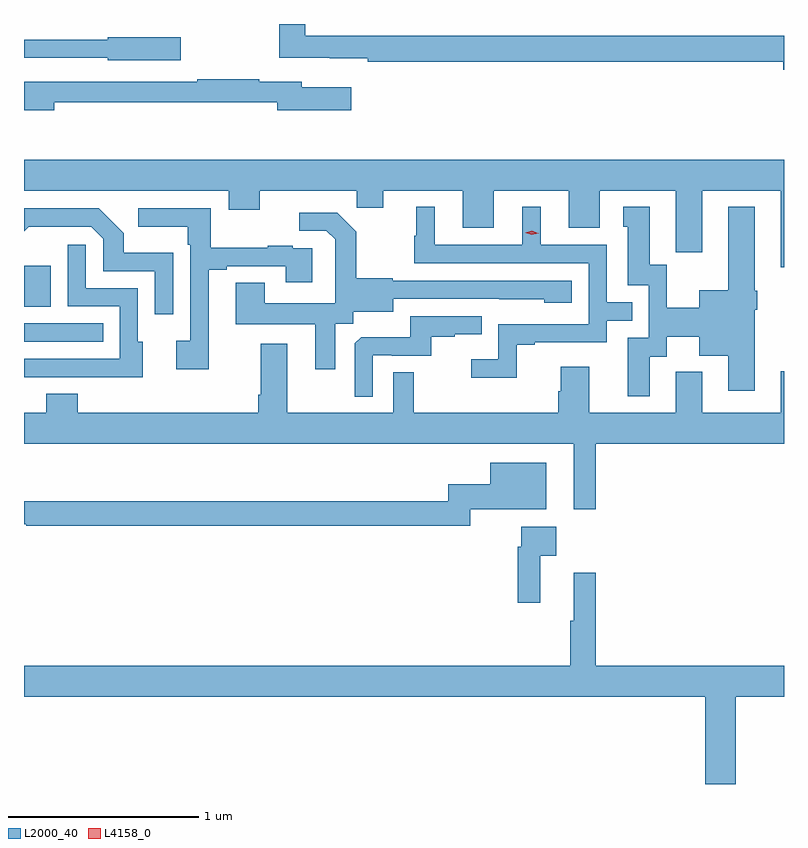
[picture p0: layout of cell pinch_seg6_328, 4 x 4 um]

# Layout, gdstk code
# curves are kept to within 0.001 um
import gdstk
lib = gdstk.Library(unit=1e-6, precision=1e-09)
def R(c, l, rs):  # rectangles x0, y0, x1, y1
    for r in rs: c.add(gdstk.rectangle(r[:2], r[2:], *l))
def P(c, l, *ps):  # polygons
    for p in ps: c.add(gdstk.Polygon(p, *l))
L2000_40 = (2000, 40)
L4158_0 = (4158, 0)

pinch_seg6_328 = lib.new_cell('pinch_seg6_328')
R(pinch_seg6_328, L2000_40, [(732.775,977.178,733.193,977.274), (732.775,977.363,732.916,977.578)])
P(pinch_seg6_328, L2000_40, [(736.775,978.788),(734.255,978.788),(734.255,978.85),(734.119,978.85),(734.119,978.672),(734.384,978.672),(734.384,978.671),(734.584,978.671),(734.584,978.652),(736.772,978.652),(736.772,978.61),(736.775,978.61)],
  [(733.6,978.781),(733.215,978.781),(733.215,978.768),(732.775,978.768),(732.775,978.672),(733.215,978.672),(733.215,978.659),(733.6,978.659)],
  [(732.934,978.438),(734.108,978.438),(734.108,978.395),(734.497,978.395),(734.497,978.517),(734.236,978.517),(734.236,978.546),(734.012,978.546),(734.012,978.559),(733.687,978.559),(733.687,978.546),(732.775,978.546),(732.775,978.395),(732.934,978.395)],
  [(736.775,978.136),(732.775,978.136),(732.775,977.972),(733.853,977.972),(733.853,977.873),(734.017,977.873),(734.017,977.972),(734.527,977.972),(734.527,977.882),(734.665,977.882),(734.665,977.972),(735.083,977.972),(735.083,977.778),(735.247,977.778),(735.247,977.972),(735.641,977.972),(735.641,977.778),(735.805,977.778),(735.805,977.972),(736.205,977.972),(736.205,977.761),(736.206,977.761),(736.206,977.649),(736.345,977.649),(736.345,977.972),(736.757,977.972),(736.757,977.571),(736.775,977.571)],
  [(735.369,977.163),(735.463,977.163),(735.463,977.175),(735.843,977.175),(735.843,977.289),(735.977,977.289),(735.977,977.385),(735.843,977.385),(735.843,977.688),(735.496,977.688),(735.496,977.887),(735.398,977.887),(735.398,977.688),(734.938,977.688),(734.938,977.887),(734.84,977.887),(734.84,977.736),(734.829,977.736),(734.829,977.592),(735.747,977.592),(735.747,977.271),(735.27,977.271),(735.27,977.086),(735.129,977.086),(735.129,976.988),(735.369,976.988)],
  [(736.069,977.098),(736.159,977.098),(736.159,977.204),(736.328,977.204),(736.328,977.105),(736.481,977.105),(736.481,976.92),(736.621,976.92),(736.621,977.345),(736.634,977.345),(736.634,977.445),(736.621,977.445),(736.621,977.887),(736.481,977.887),(736.481,977.449),(736.328,977.449),(736.328,977.356),(736.158,977.356),(736.158,977.583),(736.069,977.583),(736.069,977.887),(735.929,977.887),(735.929,977.784),(735.953,977.784),(735.953,977.475),(736.062,977.475),(736.062,977.199),(735.953,977.199),(735.953,976.89),(736.069,976.89)],
  [(733.56,977.647),(733.299,977.647),(733.299,977.75),(733.168,977.88),(732.775,977.88),(732.775,977.758),(732.8,977.783),(733.128,977.784),(733.191,977.721),(733.191,977.55),(733.464,977.55),(733.464,977.322),(733.56,977.322)],
  [(733.747,977.556),(733.843,977.556),(733.843,977.574),(734.153,977.574),(734.153,977.49),(734.293,977.49),(734.293,977.67),(734.189,977.67),(734.189,977.683),(734.057,977.683),(734.057,977.672),(733.759,977.672),(733.759,977.88),(733.377,977.88),(733.377,977.783),(733.638,977.783),(733.638,977.687),(733.65,977.687),(733.65,977.182),(733.575,977.182),(733.575,977.034),(733.747,977.034)],
  [(734.413,977.272),(734.508,977.272),(734.508,977.336),(734.719,977.336),(734.719,977.403),(735.513,977.402),(735.513,977.384),(735.658,977.384),(735.658,977.499),(734.715,977.499),(734.715,977.512),(734.523,977.512),(734.523,977.757),(734.423,977.857),(734.223,977.857),(734.223,977.763),(734.367,977.763),(734.414,977.716),(734.414,977.621),(734.412,977.621),(734.412,977.38),(734.041,977.38),(734.041,977.489),(733.889,977.489),(733.889,977.27),(734.309,977.27),(734.309,977.034),(734.413,977.034)],
  [(733.399,977.178),(733.374,977.178),(733.374,977.46),(733.101,977.46),(733.101,977.689),(733.005,977.689),(733.005,977.364),(733.278,977.364),(733.278,977.088),(732.775,977.088),(732.775,976.992),(733.181,976.992),(733.181,976.991),(733.399,976.991)],
  [(734.61,977.106),(734.71,977.106),(734.71,977.103),(734.918,977.103),(734.918,977.205),(735.041,977.205),(735.041,977.216),(735.185,977.216),(735.185,977.313),(734.808,977.313),(734.808,977.201),(734.549,977.201),(734.517,977.169),(734.517,976.889),(734.61,976.889)],
  [(735.668,976.296),(735.785,976.296),(735.785,976.64),(736.775,976.64),(736.775,977.023),(736.757,977.023),(736.757,976.804),(736.345,976.804),(736.345,977.02),(736.205,977.02),(736.205,976.804),(735.751,976.804),(735.751,977.047),(735.599,977.047),(735.599,976.917),(735.587,976.917),(735.587,976.804),(734.827,976.804),(734.827,977.018),(734.718,977.018),(734.718,976.804),(734.161,976.804),(734.161,977.167),(734.021,977.167),(734.021,976.9),(734.009,976.9),(734.009,976.804),(733.057,976.804),(733.057,976.903),(732.893,976.903),(732.893,976.804),(732.775,976.804),(732.775,976.64),(735.668,976.64)],
  [(735.123,976.295),(735.523,976.295),(735.523,976.54),(735.23,976.54),(735.23,976.427),(735.007,976.427),(735.007,976.339),(732.775,976.339),(732.775,976.218),(732.786,976.218),(732.786,976.21),(735.123,976.21)],
  [(735.491,976.052),(735.577,976.052),(735.577,976.204),(735.393,976.204),(735.393,976.1),(735.373,976.1),(735.373,975.804),(735.491,975.804)],
  [(736.521,975.308),(736.775,975.308),(736.775,975.472),(735.785,975.472),(735.785,975.961),(735.668,975.961),(735.668,975.708),(735.649,975.708),(735.649,975.472),(732.775,975.472),(732.775,975.308),(736.361,975.308),(736.361,974.85),(736.521,974.85)])
P(pinch_seg6_328, L4158_0, [(735.447,977.741),(735.412,977.751),(735.411,977.752),(735.412,977.752),(735.447,977.761),(735.482,977.75),(735.483,977.75),(735.482,977.75)])

lib.write_gds('pinch_seg6_328.gds')
